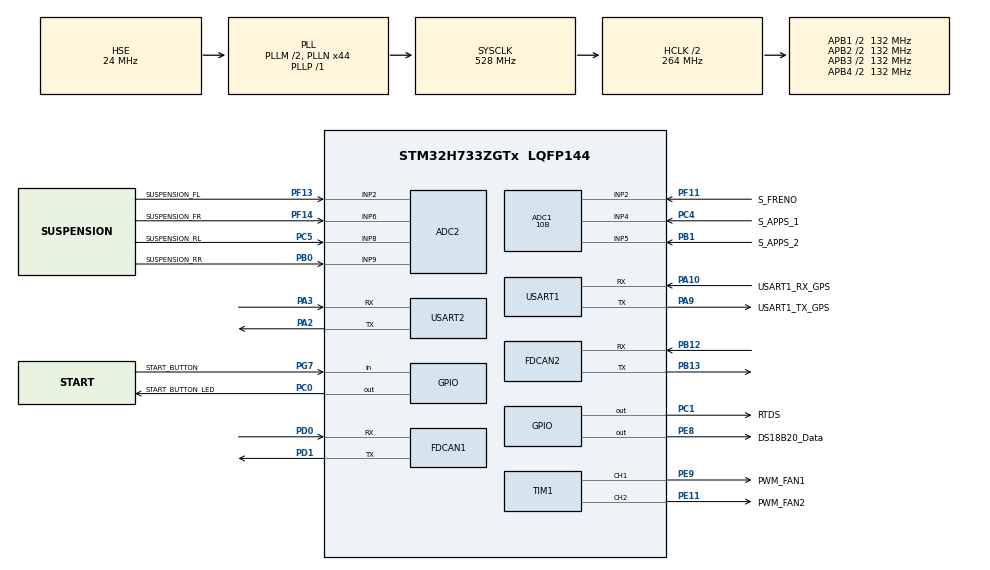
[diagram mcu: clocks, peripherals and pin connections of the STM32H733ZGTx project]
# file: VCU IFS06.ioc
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ADC1.Channel-2\#ChannelRegularConversion=ADC_CHANNEL_2
ADC1.NbrOfConversionFlag=1
ADC1.OffsetSignedSaturation-2\#ChannelRegularConversion=DISABLE
ADC1.Resolution=ADC_RESOLUTION_10B
ADC1.master=1
ADC2.Channel-8\#ChannelRegularConversion=ADC_CHANNEL_9
ADC2.NbrOfConversionFlag=1
ADC2.OffsetNumber-8\#ChannelRegularConversion=ADC_OFFSET_NONE
ADC2.OffsetSignedSaturation-8\#ChannelRegularConversion=DISABLE
ADC2.Rank-8\#ChannelRegularConversion=1
ADC2.SamplingTime-8\#ChannelRegularConversion=ADC_SAMPLETIME_1CYCLE_5
FDCAN1.CalculateBaudRateNominal=500000
FDCAN1.CalculateTimeBitNominal=2000
FDCAN1.CalculateTimeQuantumNominal=250.0
FDCAN1.ExtFiltersNbr=1
FDCAN1.NominalPrescaler=6
FDCAN1.NominalTimeSeg1=2
FDCAN1.NominalTimeSeg2=5
FDCAN1.RxBuffersNbr=0
FDCAN1.RxFifo0ElmtsNbr=32
FDCAN1.RxFifo1ElmtsNbr=32
FDCAN1.StdFiltersNbr=1
FDCAN1.TxBuffersNbr=0
FDCAN1.TxEventsNbr=0
FDCAN1.TxFifoQueueElmtsNbr=32
FDCAN2.CalculateBaudRateNominal=250000
FDCAN2.CalculateTimeBitNominal=4000
FDCAN2.CalculateTimeQuantumNominal=250.0
FDCAN2.ExtFiltersNbr=1
FDCAN2.FrameFormat=FDCAN_FRAME_CLASSIC
FDCAN2.NominalPrescaler=6
FDCAN2.NominalTimeSeg1=10
FDCAN2.NominalTimeSeg2=5
FDCAN2.RxBuffersNbr=0
FDCAN2.RxFifo0ElmtsNbr=16
FDCAN2.RxFifo1ElmtsNbr=16
FDCAN2.StdFiltersNbr=1
FDCAN2.TxBuffersNbr=0
FDCAN2.TxEventsNbr=0
FDCAN2.TxFifoQueueElmtsNbr=16
Mcu.Family=STM32H7
Mcu.Name=STM32H733ZGTx
Mcu.Package=LQFP144
NVIC.FDCAN1_IT0_IRQn=true\:0\:0\:false\:false\:true\:true\:true\:true
NVIC.FDCAN2_IT0_IRQn=true\:0\:0\:false\:false\:true\:true\:true\:true
NVIC.FDCAN2_IT1_IRQn=true\:0\:0\:false\:false\:true\:true\:true\:true
NVIC.PriorityGroup=NVIC_PRIORITYGROUP_4
NVIC.TIM16_IRQn=true\:0\:0\:false\:false\:true\:true\:true\:true
PA10.GPIO_Label=USART1_RX_GPS
PA10.Mode=Asynchronous
PA10.Signal=USART1_RX
PA13(JTMS/SWDIO).Mode=Trace_Asynchronous_SW
PA13(JTMS/SWDIO).Signal=DEBUG_JTMS-SWDIO
PA14(JTCK/SWCLK).Mode=Trace_Asynchronous_SW
PA14(JTCK/SWCLK).Signal=DEBUG_JTCK-SWCLK
PA2.Mode=Asynchronous
PA2.Signal=USART2_TX
PA3.Mode=Asynchronous
PA3.Signal=USART2_RX
PA9.GPIO_Label=USART1_TX_GPS
PA9.Mode=Asynchronous
PA9.Signal=USART1_TX
PB0.GPIO_Label=SUSPENSION_RR
PB0.Signal=ADCx_INP9
PB1.GPIO_Label=S_APPS_2
PB1.GPIO_Mode=GPIO_MODE_ANALOG
PB1.GPIO_PuPd=GPIO_NOPULL
PB1.Signal=ADCx_INP5
PB12.Mode=FDCAN_Activate
PB12.Signal=FDCAN2_RX
PB13.Mode=FDCAN_Activate
PB13.Signal=FDCAN2_TX
PB3(JTDO/TRACESWO).Mode=Trace_Asynchronous_SW
PB3(JTDO/TRACESWO).Signal=DEBUG_JTDO-SWO
PC0.GPIO_Label=START_BUTTON_LED
PC0.Signal=GPIO_Output
PC1.GPIO_Label=RTDS
PC1.Signal=GPIO_Output
PC4.GPIO_Label=S_APPS_1
PC4.GPIO_Mode=GPIO_MODE_ANALOG
PC4.GPIO_PuPd=GPIO_NOPULL
PC4.Signal=ADCx_INP4
PC5.GPIO_Label=SUSPENSION_RL
PC5.Signal=ADCx_INP8
PD0.Mode=FDCAN_Activate
PD0.Signal=FDCAN1_RX
PD1.Mode=FDCAN_Activate
PD1.Signal=FDCAN1_TX
PE11.GPIO_Label=PWM_FAN2
PE11.Signal=S_TIM1_CH2
PE8.GPIO_Label=DS18B20_Data
PE8.Signal=GPIO_Output
PE9.GPIO_Label=PWM_FAN1
PE9.Signal=S_TIM1_CH1
PF11.GPIO_Label=S_FRENO
PF11.GPIO_Mode=GPIO_MODE_ANALOG
PF11.GPIO_PuPd=GPIO_NOPULL
PF11.Mode=IN2-Single-Ended
PF11.Signal=ADC1_INP2
PF13.GPIO_Label=SUSPENSION_FL
PF13.Mode=IN2-Single-Ended
PF13.Signal=ADC2_INP2
PF14.GPIO_Label=SUSPENSION_FR
PF14.Mode=IN6-Single-Ended
PF14.Signal=ADC2_INP6
PG10.Signal=FDCAN3_RX
PG7.GPIO_Label=START_BUTTON
PG7.Signal=GPIO_Input
PG9.Signal=FDCAN3_TX
PH0-OSC_IN.Mode=HSE-External-Oscillator
PH0-OSC_IN.Signal=RCC_OSC_IN
PH1-OSC_OUT.Mode=HSE-External-Oscillator
PH1-OSC_OUT.Signal=RCC_OSC_OUT
ProjectManager.HeapSize=0x200
ProjectManager.StackSize=0x400
ProjectManager.TargetToolchain=STM32CubeIDE
RCC.ADCCLockSelection=RCC_ADCCLKSOURCE_PLL2
RCC.ADCFreq_Value=98160644.53125
RCC.APB1Freq_Value=132000000
RCC.APB2Freq_Value=132000000
RCC.APB3Freq_Value=132000000
RCC.APB4Freq_Value=132000000
RCC.CECCLockSelection=RCC_CECCLKSOURCE_LSI
RCC.CKPERSourceSelection=RCC_CLKPSOURCE_HSI
RCC.CSI_VALUE=4000000
RCC.CortexFreq_Value=528000000
RCC.Cortex_DivARG=SystemCoreClock/1000
RCC.D1PPRE=RCC_APB3_DIV2
RCC.D2PPRE1=RCC_APB1_DIV2
RCC.D2PPRE2=RCC_APB2_DIV2
RCC.D3PPRE=RCC_APB4_DIV2
RCC.DFSDMCLockSelection=RCC_DFSDM1CLKSOURCE_D2PCLK1
RCC.DIVM1=2
RCC.DIVM2=2
RCC.DIVN1=44
RCC.DIVN2=16
RCC.DIVP1=1
RCC.DIVQ1=4
RCC.EXTERNAL_CLOCK_VALUE=12288000
RCC.FDCANCLockSelection=RCC_FDCANCLKSOURCE_HSE
RCC.FMCCLockSelection=RCC_FMCCLKSOURCE_D1HCLK
RCC.HCLKFreq_Value=264000000
RCC.HPRE=RCC_HCLK_DIV2
RCC.HSE_VALUE=24000000
RCC.HSI48_VALUE=48000000
RCC.HSI_VALUE=64000000
RCC.I2C123CLockSelection=RCC_I2C1235CLKSOURCE_D2PCLK1
RCC.I2C4CLockSelection=RCC_I2C4CLKSOURCE_D3PCLK1
RCC.LPTIM1CLockSelection=RCC_LPTIM1CLKSOURCE_D2PCLK1
RCC.LPTIM2CLockSelection=RCC_LPTIM2CLKSOURCE_D3PCLK1
RCC.LPTIM345CLockSelection=RCC_LPTIM345CLKSOURCE_D3PCLK1
RCC.LPUART1CLockSelection=RCC_LPUART1CLKSOURCE_D3PCLK1
RCC.LSE_VALUE=32768
RCC.PLL2FRACN=2950
RCC.PLL3FRACN=0
RCC.PLLFRACN=0
RCC.PLLSourceVirtual=RCC_PLLSOURCE_HSE
RCC.QSPICLockSelection=RCC_OSPICLKSOURCE_D1HCLK
RCC.RCC_MCO1Source=RCC_MCO1SOURCE_HSI
RCC.RCC_MCO2Source=RCC_MCO2SOURCE_SYSCLK
RCC.RNGCLockSelection=RCC_RNGCLKSOURCE_HSI48
RCC.SAI1CLockSelection=RCC_SAI1CLKSOURCE_PLL
RCC.SAI4ACLockSelection=RCC_SAI4ACLKSOURCE_PLL
RCC.SAI4BCLockSelection=RCC_SAI4BCLKSOURCE_PLL
RCC.SPDIFCLockSelection=RCC_SPDIFRXCLKSOURCE_PLL
RCC.SPI123CLockSelection=RCC_SPI123CLKSOURCE_PLL
RCC.SPI6CLockSelection=RCC_SPI6CLKSOURCE_D3PCLK1
RCC.SWPCLockSelection=RCC_SWPMI1CLKSOURCE_D2PCLK1
RCC.SYSCLKFreq_VALUE=528000000
RCC.SYSCLKSource=RCC_SYSCLKSOURCE_PLLCLK
RCC.Spi45ClockSelection=RCC_SPI45CLKSOURCE_D2PCLK1
RCC.USART16CLockSelection=RCC_USART16910CLKSOURCE_D2PCLK2
RCC.USART234578CLockSelection=RCC_USART234578CLKSOURCE_D2PCLK1
RCC.USBCLockSelection=RCC_USBCLKSOURCE_PLL
RCC.USBFreq_Value=132000000
SH.ADCx_INP4.0=ADC1_INP4,IN4-Single-Ended
SH.ADCx_INP5.0=ADC1_INP5,IN5-Single-Ended
SH.ADCx_INP8.0=ADC2_INP8,IN8-Single-Ended
SH.ADCx_INP8.1=ADC1_INP8,IN8-Single-Ended
SH.ADCx_INP9.0=ADC2_INP9,IN9-Single-Ended
SH.ADCx_INP9.1=ADC1_INP9,IN9-Single-Ended
SH.S_TIM1_CH1.0=TIM1_CH1,PWM Generation1 CH1
SH.S_TIM1_CH2.0=TIM1_CH2,PWM Generation2 CH2
TIM1.AutoReloadPreload=TIM_AUTORELOAD_PRELOAD_ENABLE
TIM1.Channel-PWM\ Generation1\ CH1=TIM_CHANNEL_1
TIM1.Channel-PWM\ Generation2\ CH2=TIM_CHANNEL_2
TIM16.Period=10000 - 1
TIM16.Prescaler=2640- 1
USART1.VirtualMode-Asynchronous=VM_ASYNC
USART2.VirtualMode-Asynchronous=VM_ASYNC
VP_TIM16_VS_ClockSourceINT.Mode=Enable_Timer
VP_TIM1_VS_ClockSourceINT.Mode=Internal
board=custom

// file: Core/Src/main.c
/* USER CODE BEGIN Header */
/**
  ******************************************************************************
  * @file           : main.c
  * @brief          : Main program body
  ******************************************************************************
  * @attention
  *
  * Copyright (c) 2024 STMicroelectronics.
  * All rights reserved.
  *
  * This software is licensed under terms that can be found in the LICENSE file
  * in the root directory of this software component.
  * If no LICENSE file comes with this software, it is provided AS-IS.
  *
  ******************************************************************************
  */
/* USER CODE END Header */
#include "main.h"

/* USER CODE BEGIN Includes */
#include <stdio.h>
#include <string.h>
#include <stdlib.h>
#include "VCU.h"
/* USER CODE END Includes */

ADC_HandleTypeDef hadc1;
ADC_HandleTypeDef hadc2;

FDCAN_HandleTypeDef hfdcan1;
FDCAN_HandleTypeDef hfdcan2;

TIM_HandleTypeDef htim1;
TIM_HandleTypeDef htim16;

UART_HandleTypeDef huart1;
UART_HandleTypeDef huart2;

void SystemClock_Config(void);
void PeriphCommonClock_Config(void);
static void MX_GPIO_Init(void);
static void MX_ADC1_Init(void);
static void MX_ADC2_Init(void);
static void MX_FDCAN1_Init(void);
static void MX_FDCAN2_Init(void);
static void MX_TIM1_Init(void);
static void MX_USART2_UART_Init(void);
static void MX_TIM16_Init(void);
static void MX_USART1_UART_Init(void);

/* USER CODE BEGIN 0 */

// ---------- MODOS DEBUG ----------
#define DEBUG 1

// ---------- VARIABLES DEL CAN ----------
FDCAN_TxHeaderTypeDef TxHeader_Inv;
FDCAN_RxHeaderTypeDef RxHeader_Inv;
FDCAN_TxHeaderTypeDef TxHeader_Acu;
FDCAN_RxHeaderTypeDef RxHeader_Acu;

uint8_t TxData_Inv[8];
uint8_t RxData_Inv[8];
uint8_t TxData_Acu[8];
uint8_t RxData_Acu[8];

// Datos a recibir del inversor
INT32U datos_inversor[N_DATOS_INV] = {T_MOTOR, T_IGBT, T_AIR, N_ACTUAL, I_ACTUAL};

// Detector de flanco botón de arranque
int start_button_act;
int start_button_ant = 0; //1

// ---------- VARIABLES DE LECTURA DE SENSORES ----------

// Inversor
int inv_dc_bus_voltage = 0; // Lectura de DC_BUS_VOLTAGE
int inv_t_motor;        // Lectura de motor temperature
int inv_t_igbt;         // Lectura de power stage temperature
int inv_t_air;          // Lectura de air temperature
int inv_n_actual;       // Lectura de speed actual value

// Sensores
int s1_aceleracion; // Lectura del sensor 1 del pedal de aceleración
int s2_aceleracion; // Lectura del sensor 2 del pedal de aceleración
float s1_aceleracion_aux;
float s2_aceleracion_aux;
int s_freno; // Lectura del sensor de freno
float s_freno_aux;
int sdd_suspension; // Lectura del sensor delantero derecho de suspensión
int sdi_suspension; // Lectura del sensor delantero izquierdo de suspensión
float aux_velocidad;
float v_celda_min = 3600; // Contiene el ultimo valor de tension minima de una celda enviada por el AMS.

// ---------- VARIABLES DE CONTROL DEL INVERSOR ----------
int porcentaje_pedal_acel;
uint16_t torque_1;
uint16_t torque_2;
uint16_t torque_total;
int torque_limitado;
uint16_t real_torque;
int media_s_acel;
uint8_t state = 0;

// Revisar normativa
int flag_EV_2_3 = 0;
int flag_T11_8_9 = 0;
int count_T11_8_9 = 0;

char uart_msg[100];
uint8_t error = 0;

void print(char uart_buffer[]);
void printValue(int value);
void printHex(uint8_t value);

void ADC1_Select_SF(void);
void ADC1_Select_SA1(void);
void ADC1_Select_SA2(void);

void ADC2_Select_FL(void);
void ADC2_Select_FR(void);
void ADC2_Select_RL(void);
void ADC2_Select_RR(void);

uint8_t setTorque(void);

/* USER CODE END 0 */

int main(void)
{

  /* MCU Configuration--------------------------------------------------------*/

  /* Reset of all peripherals, Initializes the Flash interface and the Systick. */
  HAL_Init();

  /* Configure the system clock */
  SystemClock_Config();

/* Configure the peripherals common clocks */
  PeriphCommonClock_Config();

  /* Initialize all configured peripherals */
  MX_GPIO_Init();
  MX_ADC1_Init();
  MX_ADC2_Init();
  MX_FDCAN1_Init();
  MX_FDCAN2_Init();
  MX_TIM1_Init();
  MX_USART2_UART_Init();
  MX_TIM16_Init();
  MX_USART1_UART_Init();
  /* USER CODE BEGIN 2 */

  //Inicialización de buses CAN

  //Inversor
  if (HAL_FDCAN_Start(&hfdcan1) != HAL_OK){
#if DEBUG
print("Error al inicializar CAN_INV");
#endif
  }

  //Acumulador
  if (HAL_FDCAN_Start(&hfdcan2) != HAL_OK){
#if DEBUG
print("Error al inicializar CAN_ACU");
#endif
  }

  if (HAL_FDCAN_ActivateNotification(&hfdcan2, FDCAN_IT_RX_FIFO0_NEW_MESSAGE, 0) != HAL_OK)
  {
#if DEBUG
print("Error al activar NOTIFICATION CAN_ACU");
#endif
  }

  //---------- SECUENCIA DE ARRANQUE ----------

  //Espera ACK inversor (DC bus)
  while (config_inv_lectura_v == 0){
#if(DEBUG)
print("Solicitar tensión inversor");
#endif
	if(HAL_FDCAN_GetRxMessage(&hfdcan1, FDCAN_RX_FIFO0, &RxHeader_Inv, RxData_Inv) == HAL_OK){
		if(RxHeader_Inv.Identifier == TX_STATE_7 && RxHeader_Inv.DataLength == 6){
			config_inv_lectura_v = 1; //Sale del bucle
#if DEBUG
print("CAN_INV: Lectura de DC_BUS_VOLTAGE correctamente");
#endif
		}
	}
  }

  //Estado STAND BY inversor
  while(state!=3){
	HAL_FDCAN_GetRxMessage(&hfdcan1, FDCAN_RX_FIFO0, &RxHeader_Inv, RxData_Inv);
	if(RxHeader_Inv.Identifier == TX_STATE_3){
		state = RxData_Inv[2]>>0x1;
	}
  }

	//PRE-CHARGE
  while(precarga_inv == 0){
#if DEBUG
print("Precarga");
#endif
	//Lectura DC_BUS_VOLTAGE del CAN_INV
	if(HAL_FDCAN_GetRxMessage(&hfdcan1, FDCAN_RX_FIFO0, &RxHeader_Inv, RxData_Inv) == HAL_OK){
		if(RxHeader_Inv.Identifier == TX_STATE_7 && RxHeader_Inv.DataLength == 6){
			uint8_t byte0 = RxData_Inv[0];
			uint8_t byte1 = RxData_Inv[1];
			printHex(byte0);
			printHex(byte1);
			//inv_dc_bus_voltage = (int)((byte1<<8)|byte0);
#if DEBUG
print("DC_BUS_VOLTAGE (V):");
printValue((int)((byte1<<8)|byte0));
#endif

			//Reenvío DC_BUS_VOLTAGE al AMS por CAN_ACU
			TxHeader_Acu.Identifier = ID_dc_bus_voltage;
			TxHeader_Acu.DataLength = 2;
			TxHeader_Acu.IdType = FDCAN_EXTENDED_ID;
			TxHeader_Acu.FDFormat = FDCAN_CLASSIC_CAN;
			TxHeader_Acu.TxFrameType = FDCAN_DATA_FRAME;

			TxData_Acu[0] = byte0;
			TxData_Acu[1] = byte1;
			if(HAL_FDCAN_AddMessageToTxFifoQ(&hfdcan2, &TxHeader_Acu, TxData_Acu) == HAL_OK){
#if DEBUG
print("CAN_ACU: DC_BUS_VOLTAGE enviado a AMS");
#endif
			}

	    }
	}
  }

#if DEBUG
print("state : stand by");
#endif

/*
 * TIM16 -> APB2 => 264MHzw
 * 10 ms interruption => 10ms * 264MHz = 2640000
 * prescalado 264 (por ejemplo)
 * timer count = 2640000 / 264 = 10000
 */
  HAL_TIM_Base_Start_IT(&htim16);

  //Estado READY inversor
  TxHeader_Inv.Identifier = RX_SETPOINT_1;
  TxHeader_Inv.DataLength = 3;
  TxHeader_Inv.IdType = FDCAN_STANDARD_ID;

  TxData_Inv[0] = 0x0;
  TxData_Inv[1] = 0x0;
  TxData_Inv[2] = 0x4;
  HAL_FDCAN_AddMessageToTxFifoQ(&hfdcan1, &TxHeader_Inv, TxData_Inv);
  while(state!=4){
	  HAL_FDCAN_GetRxMessage(&hfdcan1, FDCAN_RX_FIFO0, &RxHeader_Inv, RxData_Inv);
	  if(RxHeader_Inv.Identifier == TX_STATE_3){
		  state = RxData_Inv[2]>>0x1;
	  }
  }
#if DEBUG
print("state: ready");
#endif

  //Estado TORQUE inversor
  TxHeader_Inv.Identifier = RX_SETPOINT_1;
  TxHeader_Inv.DataLength = 3;
  TxHeader_Inv.IdType = FDCAN_STANDARD_ID;

  TxData_Inv[0] = 0x0;
  TxData_Inv[1] = 0x0;
  TxData_Inv[2] = 0x6;
  HAL_FDCAN_AddMessageToTxFifoQ(&hfdcan1, &TxHeader_Inv, TxData_Inv);
  while(state!=6){
	  HAL_FDCAN_GetRxMessage(&hfdcan1, FDCAN_RX_FIFO0, &RxHeader_Inv, RxData_Inv);
	  if(RxHeader_Inv.Identifier == TX_STATE_3){
		  state = RxData_Inv[2]>>0x1;
	  }
  }

  //Espera a que se pulse el botón de arranque mientras se pisa el freno
  while(boton_arranque == 0){
	  //Enciende el LED del boton para avisar al piloto
	  HAL_GPIO_WritePin(START_BUTTON_LED_GPIO_Port, START_BUTTON_LED_Pin, GPIO_PIN_RESET);

	  start_button_act = HAL_GPIO_ReadPin(START_BUTTON_GPIO_Port, START_BUTTON_Pin);
	  if(start_button_act == 1 && start_button_ant == 0){
		  ADC1_Select_SF();
		  HAL_ADC_Start(&hadc1);
		  HAL_ADC_PollForConversion(&hadc1, HAL_MAX_DELAY);
		  s_freno= HAL_ADC_GetValue(&hadc1);
		  HAL_ADC_Stop(&hadc1);
#if DEBUG
print("Botón Start + Freno:");
printValue(s_freno);
#endif
		  if(s_freno>UMBRAL_FRENO){
			  boton_arranque = 1;
#if DEBUG
print("Coche arrancado correctamente");
#endif
		  }
		  else{
#if DEBUG
print("Pulsar freno para arrancar");
#endif
		  }
	  }
  }

  // Activar READY-TO-DRIVE-SOUND (RTDS) durante 2s
#if DEBUG
print("RTDS sonando");
#endif
  HAL_GPIO_WritePin(START_BUTTON_LED_GPIO_Port, START_BUTTON_LED_Pin, GPIO_PIN_SET); //Apaga LED botón
  HAL_GPIO_WritePin(RTDS_GPIO_Port, RTDS_Pin, GPIO_PIN_SET); //Enciende RTDS
  HAL_Delay(2000);
  HAL_GPIO_WritePin(RTDS_GPIO_Port, RTDS_Pin, GPIO_PIN_RESET); //Apaga RTDS
#if DEBUG
  print("RTDS apagado");
#endif

  // Avisar a resto de ECUs de que pueden comenzar ya a mandar datos al CAN (RTD_all)
  // Inicia telemetria y activa los ventiladores
  /*TxHeader_Acu.Identifier = ID_RTD_all;
  TxHeader_Acu.DataLength = 1;
  TxData_Acu[0] = 1;
  HAL_FDCAN_AddMessageToTxFifoQ(&hfdcan2, &TxHeader_Acu, TxData_Acu);*/

  /* USER CODE END 2 */

  /* Infinite loop */
  /* USER CODE BEGIN WHILE */
  while (1)
  {
		//Estado TORQUE inversor
		TxHeader_Inv.Identifier = RX_SETPOINT_1;
		TxHeader_Inv.DataLength = 3;
		TxHeader_Inv.IdType = FDCAN_STANDARD_ID;

		TxData_Inv[0] = 0x0;
		TxData_Inv[1] = 0x0;
		TxData_Inv[2] = 0x6;
		HAL_FDCAN_AddMessageToTxFifoQ(&hfdcan1, &TxHeader_Inv, TxData_Inv);

		HAL_FDCAN_GetRxMessage(&hfdcan1, FDCAN_RX_FIFO0, &RxHeader_Inv, RxData_Inv);
		if(RxHeader_Inv.Identifier == TX_STATE_3){
			state = RxData_Inv[2]>>0x1;
			if(state == 10){
				error = RxData_Inv[0];
			}
		}
	  	  // Envío datos telemetría
	  	  if(0){
	  		  while(HAL_FDCAN_GetRxMessage(&hfdcan1, FDCAN_RX_FIFO0, &RxHeader_Inv, RxData_Inv) == HAL_OK){
	  			  if(RxHeader_Inv.Identifier == txID_inversor){
	  				  switch(RxData_Inv[0]){
	  				  case DC_BUS_VOLTAGE:
	  					  TxHeader_Acu.Identifier = ID_dc_bus_voltage;
	  					  TxHeader_Acu.DataLength = 2;
	  					  TxHeader_Acu.IdType = FDCAN_EXTENDED_ID;
	  					  inv_dc_bus_voltage = (int)RxData_Inv[0] << 8;
	  					  TxData_Acu[0] = inv_dc_bus_voltage >> 8 & 0xFF;
	  					  TxData_Acu[1] = inv_dc_bus_voltage & 0xFF;
	  					  HAL_FDCAN_AddMessageToTxFifoQ(&hfdcan2, &TxHeader_Acu, TxData_Acu);
	  					  break;

	  				  case T_MOTOR:
	  					  TxHeader_Acu.Identifier = ID_t_motor;
	  					  TxHeader_Acu.DataLength = 2;
	  					  TxHeader_Acu.IdType = FDCAN_EXTENDED_ID;
	  					  TxData_Acu[0] = RxData_Inv[2];
	  					  TxData_Acu[1] = RxData_Inv[1];
	  					  HAL_FDCAN_AddMessageToTxFifoQ(&hfdcan2, &TxHeader_Acu, TxData_Acu);
	  					  break;

	  				  case T_IGBT:
	  					  TxHeader_Acu.Identifier = ID_t_igbt;
	  					  TxHeader_Acu.DataLength = 2;
	  					  TxHeader_Acu.IdType = FDCAN_EXTENDED_ID;
	  					  TxData_Acu[0] = RxData_Inv[2];
	  					  TxData_Acu[1] = RxData_Inv[1];
	  					  HAL_FDCAN_AddMessageToTxFifoQ(&hfdcan2, &TxHeader_Acu, TxData_Acu);
	  					  break;

	  				  case T_AIR:
	  					  TxHeader_Acu.Identifier = ID_t_air;
	  					  TxHeader_Acu.DataLength = 2;
	  					  TxHeader_Acu.IdType = FDCAN_EXTENDED_ID;
	  					  TxData_Acu[0] = RxData_Inv[2];
	  					  TxData_Acu[1] = RxData_Inv[1];
	  					  HAL_FDCAN_AddMessageToTxFifoQ(&hfdcan2, &TxHeader_Acu, TxData_Acu);
	  					  break;

	  				  case N_ACTUAL:
	  					  TxHeader_Acu.Identifier = ID_n_actual;
	  					  TxHeader_Acu.DataLength = 2;
	  					  TxHeader_Acu.IdType = FDCAN_EXTENDED_ID;
	  					  TxData_Acu[0] = RxData_Inv[2];
	  					  TxData_Acu[1] = RxData_Inv[1];
	  					  HAL_FDCAN_AddMessageToTxFifoQ(&hfdcan2, &TxHeader_Acu, TxData_Acu);
	  					  break;

	  				  case I_ACTUAL:
	  					  TxHeader_Acu.Identifier = ID_i_actual;
	  					  TxHeader_Acu.DataLength = 2;
	  					  TxHeader_Acu.IdType = FDCAN_EXTENDED_ID;
	  					  TxData_Acu[0] = RxData_Inv[2];
	  					  TxData_Acu[1] = RxData_Inv[1];
	  					  HAL_FDCAN_AddMessageToTxFifoQ(&hfdcan2, &TxHeader_Acu, TxData_Acu);
	  					  break;
	  				  default:
	  					  break;

	  				  }
	  			  }
	  		  }
	  	  }

    /* USER CODE END WHILE */

  }
}

void SystemClock_Config(void)
{
  RCC_OscInitTypeDef RCC_OscInitStruct = {0};
  RCC_ClkInitTypeDef RCC_ClkInitStruct = {0};

  /** Supply configuration update enable
  */
  HAL_PWREx_ConfigSupply(PWR_LDO_SUPPLY);

  /** Configure the main internal regulator output voltage
  */
  __HAL_PWR_VOLTAGESCALING_CONFIG(PWR_REGULATOR_VOLTAGE_SCALE0);

  while(!__HAL_PWR_GET_FLAG(PWR_FLAG_VOSRDY)) {}

  /** Initializes the RCC Oscillators according to the specified parameters
  * in the RCC_OscInitTypeDef structure.
  */
  RCC_OscInitStruct.OscillatorType = RCC_OSCILLATORTYPE_HSE;
  RCC_OscInitStruct.HSEState = RCC_HSE_ON;
  RCC_OscInitStruct.PLL.PLLState = RCC_PLL_ON;
  RCC_OscInitStruct.PLL.PLLSource = RCC_PLLSOURCE_HSE;
  RCC_OscInitStruct.PLL.PLLM = 2;
  RCC_OscInitStruct.PLL.PLLN = 44;
  RCC_OscInitStruct.PLL.PLLP = 1;
  RCC_OscInitStruct.PLL.PLLQ = 4;
  RCC_OscInitStruct.PLL.PLLR = 2;
  RCC_OscInitStruct.PLL.PLLRGE = RCC_PLL1VCIRANGE_3;
  RCC_OscInitStruct.PLL.PLLVCOSEL = RCC_PLL1VCOWIDE;
  RCC_OscInitStruct.PLL.PLLFRACN = 0;
  if (HAL_RCC_OscConfig(&RCC_OscInitStruct) != HAL_OK)
  {
    Error_Handler();
  }

  /** Initializes the CPU, AHB and APB buses clocks
  */
  RCC_ClkInitStruct.ClockType = RCC_CLOCKTYPE_HCLK|RCC_CLOCKTYPE_SYSCLK
                              |RCC_CLOCKTYPE_PCLK1|RCC_CLOCKTYPE_PCLK2
                              |RCC_CLOCKTYPE_D3PCLK1|RCC_CLOCKTYPE_D1PCLK1;
  RCC_ClkInitStruct.SYSCLKSource = RCC_SYSCLKSOURCE_PLLCLK;
  RCC_ClkInitStruct.SYSCLKDivider = RCC_SYSCLK_DIV1;
  RCC_ClkInitStruct.AHBCLKDivider = RCC_HCLK_DIV2;
  RCC_ClkInitStruct.APB3CLKDivider = RCC_APB3_DIV2;
  RCC_ClkInitStruct.APB1CLKDivider = RCC_APB1_DIV2;
  RCC_ClkInitStruct.APB2CLKDivider = RCC_APB2_DIV2;
  RCC_ClkInitStruct.APB4CLKDivider = RCC_APB4_DIV2;

  if (HAL_RCC_ClockConfig(&RCC_ClkInitStruct, FLASH_LATENCY_3) != HAL_OK)
  {
    Error_Handler();
  }
}

void PeriphCommonClock_Config(void)
{
  RCC_PeriphCLKInitTypeDef PeriphClkInitStruct = {0};

  /** Initializes the peripherals clock
  */
  PeriphClkInitStruct.PeriphClockSelection = RCC_PERIPHCLK_ADC;
  PeriphClkInitStruct.PLL2.PLL2M = 2;
  PeriphClkInitStruct.PLL2.PLL2N = 16;
  PeriphClkInitStruct.PLL2.PLL2P = 2;
  PeriphClkInitStruct.PLL2.PLL2Q = 2;
  PeriphClkInitStruct.PLL2.PLL2R = 2;
  PeriphClkInitStruct.PLL2.PLL2RGE = RCC_PLL2VCIRANGE_3;
  PeriphClkInitStruct.PLL2.PLL2VCOSEL = RCC_PLL2VCOWIDE;
  PeriphClkInitStruct.PLL2.PLL2FRACN = 2950;
  PeriphClkInitStruct.AdcClockSelection = RCC_ADCCLKSOURCE_PLL2;
  if (HAL_RCCEx_PeriphCLKConfig(&PeriphClkInitStruct) != HAL_OK)
  {
    Error_Handler();
  }
}

static void MX_ADC1_Init(void)
{

  ADC_MultiModeTypeDef multimode = {0};
  ADC_ChannelConfTypeDef sConfig = {0};

  /** Common config
  */
  hadc1.Instance = ADC1;
  hadc1.Init.ClockPrescaler = ADC_CLOCK_ASYNC_DIV1;
  hadc1.Init.Resolution = ADC_RESOLUTION_10B;
  hadc1.Init.ScanConvMode = ADC_SCAN_DISABLE;
  hadc1.Init.EOCSelection = ADC_EOC_SINGLE_CONV;
  hadc1.Init.LowPowerAutoWait = DISABLE;
  hadc1.Init.ContinuousConvMode = DISABLE;
  hadc1.Init.NbrOfConversion = 1;
  hadc1.Init.DiscontinuousConvMode = DISABLE;
  hadc1.Init.ExternalTrigConv = ADC_SOFTWARE_START;
  hadc1.Init.ExternalTrigConvEdge = ADC_EXTERNALTRIGCONVEDGE_NONE;
  hadc1.Init.ConversionDataManagement = ADC_CONVERSIONDATA_DR;
  hadc1.Init.Overrun = ADC_OVR_DATA_PRESERVED;
  hadc1.Init.LeftBitShift = ADC_LEFTBITSHIFT_NONE;
  hadc1.Init.OversamplingMode = DISABLE;
  if (HAL_ADC_Init(&hadc1) != HAL_OK)
  {
    Error_Handler();
  }

  /** Configure the ADC multi-mode
  */
  multimode.Mode = ADC_MODE_INDEPENDENT;
  if (HAL_ADCEx_MultiModeConfigChannel(&hadc1, &multimode) != HAL_OK)
  {
    Error_Handler();
  }

  /** Configure Regular Channel
  */
  sConfig.Channel = ADC_CHANNEL_2;
  sConfig.Rank = ADC_REGULAR_RANK_1;
  sConfig.SamplingTime = ADC_SAMPLETIME_1CYCLE_5;
  sConfig.SingleDiff = ADC_SINGLE_ENDED;
  sConfig.OffsetNumber = ADC_OFFSET_NONE;
  sConfig.Offset = 0;
  sConfig.OffsetSignedSaturation = DISABLE;
  if (HAL_ADC_ConfigChannel(&hadc1, &sConfig) != HAL_OK)
  {
    Error_Handler();
  }

}

static void MX_ADC2_Init(void)
{

  ADC_ChannelConfTypeDef sConfig = {0};

  /** Common config
  */
  hadc2.Instance = ADC2;
  hadc2.Init.ClockPrescaler = ADC_CLOCK_ASYNC_DIV1;
  hadc2.Init.Resolution = ADC_RESOLUTION_16B;
  hadc2.Init.ScanConvMode = ADC_SCAN_DISABLE;
  hadc2.Init.EOCSelection = ADC_EOC_SINGLE_CONV;
  hadc2.Init.LowPowerAutoWait = DISABLE;
  hadc2.Init.ContinuousConvMode = DISABLE;
  hadc2.Init.NbrOfConversion = 1;
  hadc2.Init.DiscontinuousConvMode = DISABLE;
  hadc2.Init.ExternalTrigConv = ADC_SOFTWARE_START;
  hadc2.Init.ExternalTrigConvEdge = ADC_EXTERNALTRIGCONVEDGE_NONE;
  hadc2.Init.ConversionDataManagement = ADC_CONVERSIONDATA_DR;
  hadc2.Init.Overrun = ADC_OVR_DATA_PRESERVED;
  hadc2.Init.LeftBitShift = ADC_LEFTBITSHIFT_NONE;
  hadc2.Init.OversamplingMode = DISABLE;
  if (HAL_ADC_Init(&hadc2) != HAL_OK)
  {
    Error_Handler();
  }

  /** Configure Regular Channel
  */
  sConfig.Channel = ADC_CHANNEL_9;
  sConfig.Rank = ADC_REGULAR_RANK_1;
  sConfig.SamplingTime = ADC_SAMPLETIME_1CYCLE_5;
  sConfig.SingleDiff = ADC_SINGLE_ENDED;
  sConfig.OffsetNumber = ADC_OFFSET_NONE;
  sConfig.Offset = 0;
  sConfig.OffsetSignedSaturation = DISABLE;
  if (HAL_ADC_ConfigChannel(&hadc2, &sConfig) != HAL_OK)
  {
    Error_Handler();
  }

}

static void MX_FDCAN1_Init(void)
{

  hfdcan1.Instance = FDCAN1;
  hfdcan1.Init.FrameFormat = FDCAN_FRAME_CLASSIC;
  hfdcan1.Init.Mode = FDCAN_MODE_NORMAL;
  hfdcan1.Init.AutoRetransmission = DISABLE;
  hfdcan1.Init.TransmitPause = DISABLE;
  hfdcan1.Init.ProtocolException = DISABLE;
  hfdcan1.Init.NominalPrescaler = 6;
  hfdcan1.Init.NominalSyncJumpWidth = 1;
  hfdcan1.Init.NominalTimeSeg1 = 2;
  hfdcan1.Init.NominalTimeSeg2 = 5;
  hfdcan1.Init.DataPrescaler = 1;
  hfdcan1.Init.DataSyncJumpWidth = 1;
  hfdcan1.Init.DataTimeSeg1 = 1;
  hfdcan1.Init.DataTimeSeg2 = 1;
  hfdcan1.Init.MessageRAMOffset = 0;
  hfdcan1.Init.StdFiltersNbr = 1;
  hfdcan1.Init.ExtFiltersNbr = 1;
  hfdcan1.Init.RxFifo0ElmtsNbr = 32;
  hfdcan1.Init.RxFifo0ElmtSize = FDCAN_DATA_BYTES_8;
  hfdcan1.Init.RxFifo1ElmtsNbr = 32;
  hfdcan1.Init.RxFifo1ElmtSize = FDCAN_DATA_BYTES_8;
  hfdcan1.Init.RxBuffersNbr = 0;
  hfdcan1.Init.RxBufferSize = FDCAN_DATA_BYTES_8;
  hfdcan1.Init.TxEventsNbr = 0;
  hfdcan1.Init.TxBuffersNbr = 0;
  hfdcan1.Init.TxFifoQueueElmtsNbr = 32;
  hfdcan1.Init.TxFifoQueueMode = FDCAN_TX_FIFO_OPERATION;
  hfdcan1.Init.TxElmtSize = FDCAN_DATA_BYTES_8;
  if (HAL_FDCAN_Init(&hfdcan1) != HAL_OK)
  {
    Error_Handler();
  }
  /* USER CODE BEGIN FDCAN1_Init 2 */
  FDCAN_FilterTypeDef sFilterConfig;
  sFilterConfig.IdType = FDCAN_STANDARD_ID;
  sFilterConfig.FilterIndex = 0;
  sFilterConfig.FilterType = FDCAN_FILTER_MASK;
  sFilterConfig.FilterConfig = FDCAN_FILTER_TO_RXFIFO0;
  sFilterConfig.FilterID1 = 0x0;
  sFilterConfig.FilterID2 = 0x0;
  if (HAL_FDCAN_ConfigFilter(&hfdcan1, &sFilterConfig) != HAL_OK)
  {
    Error_Handler();
  }
  /* USER CODE END FDCAN1_Init 2 */

}

static void MX_FDCAN2_Init(void)
{

  hfdcan2.Instance = FDCAN2;
  hfdcan2.Init.FrameFormat = FDCAN_FRAME_CLASSIC;
  hfdcan2.Init.Mode = FDCAN_MODE_NORMAL;
  hfdcan2.Init.AutoRetransmission = DISABLE;
  hfdcan2.Init.TransmitPause = DISABLE;
  hfdcan2.Init.ProtocolException = DISABLE;
  hfdcan2.Init.NominalPrescaler = 6;
  hfdcan2.Init.NominalSyncJumpWidth = 1;
  hfdcan2.Init.NominalTimeSeg1 = 10;
  hfdcan2.Init.NominalTimeSeg2 = 5;
  hfdcan2.Init.DataPrescaler = 1;
  hfdcan2.Init.DataSyncJumpWidth = 1;
  hfdcan2.Init.DataTimeSeg1 = 1;
  hfdcan2.Init.DataTimeSeg2 = 1;
  hfdcan2.Init.MessageRAMOffset = 0;
  hfdcan2.Init.StdFiltersNbr = 1;
  hfdcan2.Init.ExtFiltersNbr = 1;
  hfdcan2.Init.RxFifo0ElmtsNbr = 16;
  hfdcan2.Init.RxFifo0ElmtSize = FDCAN_DATA_BYTES_8;
  hfdcan2.Init.RxFifo1ElmtsNbr = 16;
  hfdcan2.Init.RxFifo1ElmtSize = FDCAN_DATA_BYTES_8;
  hfdcan2.Init.RxBuffersNbr = 0;
  hfdcan2.Init.RxBufferSize = FDCAN_DATA_BYTES_8;
  hfdcan2.Init.TxEventsNbr = 0;
  hfdcan2.Init.TxBuffersNbr = 0;
  hfdcan2.Init.TxFifoQueueElmtsNbr = 16;
  hfdcan2.Init.TxFifoQueueMode = FDCAN_TX_FIFO_OPERATION;
  hfdcan2.Init.TxElmtSize = FDCAN_DATA_BYTES_8;
  if (HAL_FDCAN_Init(&hfdcan2) != HAL_OK)
  {
    Error_Handler();
  }
  /* USER CODE BEGIN FDCAN2_Init 2 */
  FDCAN_FilterTypeDef sFilterConfig;
  sFilterConfig.IdType = FDCAN_EXTENDED_ID;
  sFilterConfig.FilterIndex = 0;
  sFilterConfig.FilterType = FDCAN_FILTER_MASK;
  sFilterConfig.FilterConfig = FDCAN_FILTER_TO_RXFIFO0;
  sFilterConfig.FilterID1 = 0x0;
  sFilterConfig.FilterID2 = 0x0;
  if (HAL_FDCAN_ConfigFilter(&hfdcan2, &sFilterConfig) != HAL_OK)
  {
    Error_Handler();
  }
  /* USER CODE END FDCAN2_Init 2 */

}

static void MX_TIM1_Init(void)
{

  TIM_ClockConfigTypeDef sClockSourceConfig = {0};
  TIM_MasterConfigTypeDef sMasterConfig = {0};
  TIM_OC_InitTypeDef sConfigOC = {0};
  TIM_BreakDeadTimeConfigTypeDef sBreakDeadTimeConfig = {0};

  htim1.Instance = TIM1;
  htim1.Init.Prescaler = 0;
  htim1.Init.CounterMode = TIM_COUNTERMODE_UP;
  htim1.Init.Period = 65535;
  htim1.Init.ClockDivision = TIM_CLOCKDIVISION_DIV1;
  htim1.Init.RepetitionCounter = 0;
  htim1.Init.AutoReloadPreload = TIM_AUTORELOAD_PRELOAD_ENABLE;
  if (HAL_TIM_Base_Init(&htim1) != HAL_OK)
  {
    Error_Handler();
  }
  sClockSourceConfig.ClockSource = TIM_CLOCKSOURCE_INTERNAL;
  if (HAL_TIM_ConfigClockSource(&htim1, &sClockSourceConfig) != HAL_OK)
  {
    Error_Handler();
  }
  if (HAL_TIM_PWM_Init(&htim1) != HAL_OK)
  {
    Error_Handler();
  }
  sMasterConfig.MasterOutputTrigger = TIM_TRGO_RESET;
  sMasterConfig.MasterOutputTrigger2 = TIM_TRGO2_RESET;
  sMasterConfig.MasterSlaveMode = TIM_MASTERSLAVEMODE_DISABLE;
  if (HAL_TIMEx_MasterConfigSynchronization(&htim1, &sMasterConfig) != HAL_OK)
  {
    Error_Handler();
  }
  sConfigOC.OCMode = TIM_OCMODE_PWM1;
  sConfigOC.Pulse = 0;
  sConfigOC.OCPolarity = TIM_OCPOLARITY_HIGH;
  sConfigOC.OCNPolarity = TIM_OCNPOLARITY_HIGH;
  sConfigOC.OCFastMode = TIM_OCFAST_DISABLE;
  sConfigOC.OCIdleState = TIM_OCIDLESTATE_RESET;
  sConfigOC.OCNIdleState = TIM_OCNIDLESTATE_RESET;
  if (HAL_TIM_PWM_ConfigChannel(&htim1, &sConfigOC, TIM_CHANNEL_1) != HAL_OK)
  {
    Error_Handler();
  }
  if (HAL_TIM_PWM_ConfigChannel(&htim1, &sConfigOC, TIM_CHANNEL_2) != HAL_OK)
  {
    Error_Handler();
  }
  sBreakDeadTimeConfig.OffStateRunMode = TIM_OSSR_DISABLE;
  sBreakDeadTimeConfig.OffStateIDLEMode = TIM_OSSI_DISABLE;
  sBreakDeadTimeConfig.LockLevel = TIM_LOCKLEVEL_OFF;
  sBreakDeadTimeConfig.DeadTime = 0;
  sBreakDeadTimeConfig.BreakState = TIM_BREAK_DISABLE;
  sBreakDeadTimeConfig.BreakPolarity = TIM_BREAKPOLARITY_HIGH;
  sBreakDeadTimeConfig.BreakFilter = 0;
  sBreakDeadTimeConfig.Break2State = TIM_BREAK2_DISABLE;
  sBreakDeadTimeConfig.Break2Polarity = TIM_BREAK2POLARITY_HIGH;
  sBreakDeadTimeConfig.Break2Filter = 0;
  sBreakDeadTimeConfig.AutomaticOutput = TIM_AUTOMATICOUTPUT_DISABLE;
  if (HAL_TIMEx_ConfigBreakDeadTime(&htim1, &sBreakDeadTimeConfig) != HAL_OK)
  {
    Error_Handler();
  }
  HAL_TIM_MspPostInit(&htim1);

}

static void MX_TIM16_Init(void)
{

  htim16.Instance = TIM16;
  htim16.Init.Prescaler = 2640- 1;
  htim16.Init.CounterMode = TIM_COUNTERMODE_UP;
  htim16.Init.Period = 10000 - 1;
  htim16.Init.ClockDivision = TIM_CLOCKDIVISION_DIV1;
  htim16.Init.RepetitionCounter = 0;
  htim16.Init.AutoReloadPreload = TIM_AUTORELOAD_PRELOAD_DISABLE;
  if (HAL_TIM_Base_Init(&htim16) != HAL_OK)
  {
    Error_Handler();
  }

}

static void MX_USART1_UART_Init(void)
{

  huart1.Instance = USART1;
  huart1.Init.BaudRate = 115200;
  huart1.Init.WordLength = UART_WORDLENGTH_8B;
  huart1.Init.StopBits = UART_STOPBITS_1;
  huart1.Init.Parity = UART_PARITY_NONE;
  huart1.Init.Mode = UART_MODE_TX_RX;
  huart1.Init.HwFlowCtl = UART_HWCONTROL_NONE;
  huart1.Init.OverSampling = UART_OVERSAMPLING_16;
  huart1.Init.OneBitSampling = UART_ONE_BIT_SAMPLE_DISABLE;
  huart1.Init.ClockPrescaler = UART_PRESCALER_DIV1;
  huart1.AdvancedInit.AdvFeatureInit = UART_ADVFEATURE_NO_INIT;
  if (HAL_UART_Init(&huart1) != HAL_OK)
  {
    Error_Handler();
  }
  if (HAL_UARTEx_SetTxFifoThreshold(&huart1, UART_TXFIFO_THRESHOLD_1_8) != HAL_OK)
  {
    Error_Handler();
  }
  if (HAL_UARTEx_SetRxFifoThreshold(&huart1, UART_RXFIFO_THRESHOLD_1_8) != HAL_OK)
  {
    Error_Handler();
  }
  if (HAL_UARTEx_DisableFifoMode(&huart1) != HAL_OK)
  {
    Error_Handler();
  }

}

static void MX_USART2_UART_Init(void)
{

  huart2.Instance = USART2;
  huart2.Init.BaudRate = 115200;
  huart2.Init.WordLength = UART_WORDLENGTH_8B;
  huart2.Init.StopBits = UART_STOPBITS_1;
  huart2.Init.Parity = UART_PARITY_NONE;
  huart2.Init.Mode = UART_MODE_TX_RX;
  huart2.Init.HwFlowCtl = UART_HWCONTROL_NONE;
  huart2.Init.OverSampling = UART_OVERSAMPLING_16;
  huart2.Init.OneBitSampling = UART_ONE_BIT_SAMPLE_DISABLE;
  huart2.Init.ClockPrescaler = UART_PRESCALER_DIV1;
  huart2.AdvancedInit.AdvFeatureInit = UART_ADVFEATURE_NO_INIT;
  if (HAL_UART_Init(&huart2) != HAL_OK)
  {
    Error_Handler();
  }
  if (HAL_UARTEx_SetTxFifoThreshold(&huart2, UART_TXFIFO_THRESHOLD_1_8) != HAL_OK)
  {
    Error_Handler();
  }
  if (HAL_UARTEx_SetRxFifoThreshold(&huart2, UART_RXFIFO_THRESHOLD_1_8) != HAL_OK)
  {
    Error_Handler();
  }
  if (HAL_UARTEx_DisableFifoMode(&huart2) != HAL_OK)
  {
    Error_Handler();
  }

}

static void MX_GPIO_Init(void)
{
  GPIO_InitTypeDef GPIO_InitStruct = {0};

  /* GPIO Ports Clock Enable */
  __HAL_RCC_GPIOH_CLK_ENABLE();
  __HAL_RCC_GPIOC_CLK_ENABLE();
  __HAL_RCC_GPIOA_CLK_ENABLE();
  __HAL_RCC_GPIOB_CLK_ENABLE();
  __HAL_RCC_GPIOF_CLK_ENABLE();
  __HAL_RCC_GPIOE_CLK_ENABLE();
  __HAL_RCC_GPIOG_CLK_ENABLE();
  __HAL_RCC_GPIOD_CLK_ENABLE();

  /*Configure GPIO pin Output Level */
  HAL_GPIO_WritePin(GPIOC, START_BUTTON_LED_Pin|RTDS_Pin, GPIO_PIN_RESET);

  /*Configure GPIO pin Output Level */
  HAL_GPIO_WritePin(DS18B20_Data_GPIO_Port, DS18B20_Data_Pin, GPIO_PIN_RESET);

  /*Configure GPIO pins : START_BUTTON_LED_Pin RTDS_Pin */
  GPIO_InitStruct.Pin = START_BUTTON_LED_Pin|RTDS_Pin;
  GPIO_InitStruct.Mode = GPIO_MODE_OUTPUT_PP;
  GPIO_InitStruct.Pull = GPIO_NOPULL;
  GPIO_InitStruct.Speed = GPIO_SPEED_FREQ_LOW;
  HAL_GPIO_Init(GPIOC, &GPIO_InitStruct);

  /*Configure GPIO pin : DS18B20_Data_Pin */
  GPIO_InitStruct.Pin = DS18B20_Data_Pin;
  GPIO_InitStruct.Mode = GPIO_MODE_OUTPUT_PP;
  GPIO_InitStruct.Pull = GPIO_NOPULL;
  GPIO_InitStruct.Speed = GPIO_SPEED_FREQ_LOW;
  HAL_GPIO_Init(DS18B20_Data_GPIO_Port, &GPIO_InitStruct);

  /*Configure GPIO pin : START_BUTTON_Pin */
  GPIO_InitStruct.Pin = START_BUTTON_Pin;
  GPIO_InitStruct.Mode = GPIO_MODE_INPUT;
  GPIO_InitStruct.Pull = GPIO_NOPULL;
  HAL_GPIO_Init(START_BUTTON_GPIO_Port, &GPIO_InitStruct);

  /*Configure GPIO pins : PG9 PG10 */
  GPIO_InitStruct.Pin = GPIO_PIN_9|GPIO_PIN_10;
  GPIO_InitStruct.Mode = GPIO_MODE_AF_PP;
  GPIO_InitStruct.Pull = GPIO_NOPULL;
  GPIO_InitStruct.Speed = GPIO_SPEED_FREQ_LOW;
  GPIO_InitStruct.Alternate = GPIO_AF2_FDCAN3;
  HAL_GPIO_Init(GPIOG, &GPIO_InitStruct);

}

/* USER CODE BEGIN 4 */
void print(char uart_buffer[]){
	sprintf(uart_msg, "%s \n\r", uart_buffer);
	HAL_UART_Transmit(&huart2,(uint8_t*)uart_msg,strlen(uart_msg),HAL_MAX_DELAY);

}

void printValue(int value){
	sprintf(uart_msg, "%hu \n\r", value);
	HAL_UART_Transmit(&huart2,(uint8_t*)uart_msg,strlen(uart_msg),HAL_MAX_DELAY);

}

void printHex(uint8_t value){
	sprintf(uart_msg, "%02X \n\r", value);
	HAL_UART_Transmit(&huart2,(uint8_t*)uart_msg,strlen(uart_msg),HAL_MAX_DELAY);
}

void ADC1_Select_SA1 (void){
	ADC_ChannelConfTypeDef sConfig = {0};
	  /** Configure for the selected ADC regular channel its corresponding rank in the sequencer and its sample time.
	  */
	sConfig.Channel = ADC_CHANNEL_4;
	sConfig.Rank = ADC_REGULAR_RANK_1;
	sConfig.SamplingTime = ADC_SAMPLETIME_2CYCLES_5;
	sConfig.SingleDiff = ADC_SINGLE_ENDED;
	sConfig.OffsetNumber = ADC_OFFSET_NONE;
	sConfig.Offset = 0;
	if (HAL_ADC_ConfigChannel(&hadc1, &sConfig) != HAL_OK)
	{
	  Error_Handler();
	}
}

void ADC1_Select_SA2 (void){
	ADC_ChannelConfTypeDef sConfig = {0};
	  /** Configure for the selected ADC regular channel its corresponding rank in the sequencer and its sample time.
	  */
	sConfig.Channel = ADC_CHANNEL_5;
	sConfig.Rank = ADC_REGULAR_RANK_1;
	sConfig.SamplingTime = ADC_SAMPLETIME_2CYCLES_5;
	sConfig.SingleDiff = ADC_SINGLE_ENDED;
	sConfig.OffsetNumber = ADC_OFFSET_NONE;
	sConfig.Offset = 0;
	if (HAL_ADC_ConfigChannel(&hadc1, &sConfig) != HAL_OK)
	{
	  Error_Handler();
	}
}

void ADC1_Select_SF (void){
	ADC_ChannelConfTypeDef sConfig = {0};
	  /** Configure for the selected ADC regular channel its corresponding rank in the sequencer and its sample time.
	  */
	sConfig.Channel = ADC_CHANNEL_2;
	sConfig.Rank = ADC_REGULAR_RANK_1;
	sConfig.SamplingTime = ADC_SAMPLETIME_2CYCLE_5;
	sConfig.SingleDiff = ADC_SINGLE_ENDED;
	sConfig.OffsetNumber = ADC_OFFSET_NONE;
	sConfig.Offset = 0;
	if (HAL_ADC_ConfigChannel(&hadc1, &sConfig) != HAL_OK)
	{
	  Error_Handler();
	}
}

void ADC2_Select_FR(void){
	ADC_ChannelConfTypeDef sConfig = {0};
	sConfig.Channel = ADC_CHANNEL_2;
	sConfig.Rank = ADC_REGULAR_RANK_1;
	sConfig.SamplingTime = ADC_SAMPLETIME_2CYCLES_5;
	sConfig.SingleDiff = ADC_SINGLE_ENDED;
	sConfig.OffsetNumber = ADC_OFFSET_NONE;
	sConfig.Offset = 0;
	if (HAL_ADC_ConfigChannel(&hadc2, &sConfig) != HAL_OK)
	{
	  Error_Handler();
	}
}

void ADC2_Select_FL(void){
	ADC_ChannelConfTypeDef sConfig = {0};
	sConfig.Channel = ADC_CHANNEL_6;
	sConfig.Rank = ADC_REGULAR_RANK_1;
	sConfig.SamplingTime = ADC_SAMPLETIME_2CYCLES_5;
	sConfig.SingleDiff = ADC_SINGLE_ENDED;
	sConfig.OffsetNumber = ADC_OFFSET_NONE;
	sConfig.Offset = 0;
	if (HAL_ADC_ConfigChannel(&hadc2, &sConfig) != HAL_OK)
	{
	  Error_Handler();
	}
}

void ADC2_Select_RL(void){
	ADC_ChannelConfTypeDef sConfig = {0};
	sConfig.Channel = ADC_CHANNEL_8;
	sConfig.Rank = ADC_REGULAR_RANK_1;
	sConfig.SamplingTime = ADC_SAMPLETIME_2CYCLES_5;
	sConfig.SingleDiff = ADC_SINGLE_ENDED;
	sConfig.OffsetNumber = ADC_OFFSET_NONE;
	sConfig.Offset = 0;
	if (HAL_ADC_ConfigChannel(&hadc2, &sConfig) != HAL_OK)
	{
	  Error_Handler();
	}
}

void ADC2_Select_RR(void){
	ADC_ChannelConfTypeDef sConfig = {0};
	sConfig.Channel = ADC_CHANNEL_9;
	sConfig.Rank = ADC_REGULAR_RANK_1;
	sConfig.SamplingTime = ADC_SAMPLETIME_2CYCLES_5;
	sConfig.SingleDiff = ADC_SINGLE_ENDED;
	sConfig.OffsetNumber = ADC_OFFSET_NONE;
	sConfig.Offset = 0;
	if (HAL_ADC_ConfigChannel(&hadc2, &sConfig) != HAL_OK)
	{
	  Error_Handler();
	}
}

void HAL_FDCAN_RxFifo0Callback(FDCAN_HandleTypeDef *hfdcan, uint32_t RxFifo0ITs)
{
  if((RxFifo0ITs & FDCAN_IT_RX_FIFO0_NEW_MESSAGE) != RESET)
  {
    /* Retreive Rx messages from RX FIFO1 */
    if (HAL_FDCAN_GetRxMessage(hfdcan, FDCAN_RX_FIFO0, &RxHeader_Acu, RxData_Acu) == HAL_OK)
    {
		switch (RxHeader_Acu.Identifier){
			case 0x20://ID_ack_precarga:
				if(RxData_Acu[0] == 0){
					precarga_inv = 1;
					#if DEBUG
					print("CAN_ACU: Precarga correcta");
					#endif
				}
				break;
		}

    }

    if (HAL_FDCAN_ActivateNotification(hfdcan, FDCAN_IT_RX_FIFO0_NEW_MESSAGE, 0) != HAL_OK)
    {
      /* Notification Error */
      Error_Handler();
    }
  }
}

uint8_t setTorque(){
	// Leemos sensores de posición del pedal de acelaración
	ADC1_Select_SA1();
	HAL_ADC_Start(&hadc1);
	HAL_ADC_PollForConversion(&hadc1, HAL_MAX_DELAY);
	s1_aceleracion = HAL_ADC_GetValue(&hadc1);
	HAL_ADC_Stop(&hadc1);

	ADC1_Select_SA2();
	HAL_ADC_Start(&hadc1);
	HAL_ADC_PollForConversion(&hadc1, HAL_MAX_DELAY);
	s2_aceleracion = HAL_ADC_GetValue(&hadc1);
	HAL_ADC_Stop(&hadc1);

#if DEBUG
print("Sensor 1: ");
printValue(s1_aceleracion);
print("");
print("Sensor 2: ");
printValue(s2_aceleracion);
print("");
#endif

	// Leemos sensor de freno
	ADC1_Select_SF();
	HAL_ADC_Start(&hadc1);
	HAL_ADC_PollForConversion(&hadc1, HAL_MAX_DELAY);
	s_freno = HAL_ADC_GetValue(&hadc1);
	HAL_ADC_Stop(&hadc1);

#if DEBUG
print("Sensor freno: ");
printValue(s_freno);
#endif

	// Calculamos % torque  en función de la posición de los sensores
	s1_aceleracion_aux = (s1_aceleracion - 500) / (7.48 - 5);
	if(s1_aceleracion_aux < 0) s1_aceleracion_aux = 0;
	s2_aceleracion_aux = (s2_aceleracion - 482) / (6.59 - 4.82);
	if(s2_aceleracion_aux < 0) s2_aceleracion_aux = 0;

#if DEBUG
print("Sensor % 1: ");
printValue(s1_aceleracion_aux);
print("");
print("Sensor % 2: ");
printValue(s2_aceleracion_aux);
print("");
#endif

	// Torque enviado es la media de los dos sensores
	torque_total = (s1_aceleracion_aux + s2_aceleracion_aux) / 2;

	// Por debajo de un 10% no acelera y por encima de un 90% esta a tope
	if (torque_total < 5)
	{
	  torque_total = 0;
	}
	else if (torque_total > 90)
	{
	  torque_total = 100;
	}

    // Comprobamos EV 2.3 APPS/Brake Pedal Plausibility Check
    // En caso de que se esté pisando el freno y mas de un 25% del pedal para. Se resetea
	// solo si el acelerador vuelve por debajo del 5%
    if (s_freno > UMBRAL_FRENO_APPS && torque_total > 25)
    {
      print("EV_2_3");
      flag_EV_2_3 = 1;
    }
    else if (s_freno < UMBRAL_FRENO_APPS && torque_total < 5)
    {
      flag_EV_2_3 = 0;
    }

    // T11.8.9 Implausibility is defined as a deviation of more than ten percentage points
    // pedal travel between any of the used APPSs
    if (abs(s1_aceleracion_aux - s2_aceleracion_aux) > 10)
    {
      count_T11_8_9 = count_T11_8_9 + 1;
      if (count_T11_8_9 * periodo_inv > 100)
      {
    	print("T11.8.9");
        flag_T11_8_9 = 1;
      }
    }
    else
    {
      count_T11_8_9 = 0;
      flag_T11_8_9 = 0;
    }

    if (flag_EV_2_3 || flag_T11_8_9)
    {
      torque_total = 0;
    }

#if DEBUG
print("Torque total solicitado: ");
printValue(torque_total);
#endif

    // Limitación del torque en función de la carga
    /*if (v_celda_min < 3500)
    {
      if (v_celda_min > 2800)
      {
        torque_limitado = torque_total * (1.357 * v_celda_min - 3750) / 1000;
      }
      else
      {
        torque_limitado = torque_total * 0.05;
      }
    }
    else
    {
      torque_limitado = torque_total;
    }*/

#if 0
print("Torque limitado en: ");
printValue(torque_limitado);
#endif

	torque_total = torque_total * 2.4;
    // Invertir todos los bits (complemento a uno)
    uint16_t complement_one = ~torque_total;

    // Sumar 1 para obtener el complemento a dos
    uint16_t torque_real = complement_one + 1;

    // Envío telemetría aceleración y freno
    /*TxHeader_Acu.Identifier = ID_torque_total;
    TxHeader_Acu.DataLength = 2;
    TxData_Acu[0] = ((int)torque_limitado) >> 8;
    TxData_Acu[1] = ((int)torque_limitado);
    HAL_FDCAN_AddMessageToTxFifoQ(&hfdcan2, &TxHeader_Acu, TxData_Acu);

    s_freno_aux = s_freno;
    s_freno_aux=(s_freno_aux-121.0)/572.0*100.0;
    TxHeader_Acu.Identifier = ID_s_freno;
   	TxHeader_Acu.DataLength = 2;
   	TxData_Acu[0] = ((int)s_freno_aux) >> 8;
   	TxData_Acu[1] = ((int)s_freno_aux);
   	HAL_FDCAN_AddMessageToTxFifoQ(&hfdcan2, &TxHeader_Acu, TxData_Acu);*/

    if(torque_real == 0){
    	torque_real = 0xFF;
    }
#if 1
print("Torque mandado al inversor: ");
printHex(torque_real);
#endif
	return torque_real;
}

void HAL_TIM_PeriodElapsedCallback(TIM_HandleTypeDef *htim) {
	if(htim == &htim16){
		 // ---------- CONTROL DEL INVERSOR ----------
		if(state == 4){
			TxHeader_Inv.Identifier = 0x362;
			TxHeader_Inv.DataLength = 4;

			real_torque = 0;

			TxData_Inv[0] = 0x0;
			TxData_Inv[1] = 0x0;
			TxData_Inv[2] = real_torque;
			TxData_Inv[3] = 0x0;
			HAL_FDCAN_AddMessageToTxFifoQ(&hfdcan1, &TxHeader_Inv, TxData_Inv);
		}
		if(state == 6){
			print("state: torque");

			//Estado TORQUE inversor
			TxHeader_Inv.Identifier = RX_SETPOINT_1;
			TxHeader_Inv.DataLength = 3;
			TxHeader_Inv.IdType = FDCAN_STANDARD_ID;

			TxData_Inv[0] = 0x0;
			TxData_Inv[1] = 0x0;
			TxData_Inv[2] = 0x6;
			HAL_FDCAN_AddMessageToTxFifoQ(&hfdcan1, &TxHeader_Inv, TxData_Inv);

			//Request TORQUE inversor
			TxHeader_Inv.Identifier = 0x362;
			TxHeader_Inv.DataLength = 4;

			//real_torque = setTorque();

			TxData_Inv[0] = 0x0;
			TxData_Inv[1] = 0x0;
			TxData_Inv[2] = 0xFF; //torque 0 - 240
			TxData_Inv[3] = 0xFF; //negative torque
			HAL_FDCAN_AddMessageToTxFifoQ(&hfdcan1, &TxHeader_Inv, TxData_Inv);
		}
		if(state == 10){
			print("state: soft fault");
			printValue(error);
		}

	}
}
/* USER CODE END 4 */

void Error_Handler(void)
{
  __disable_irq();
  while (1)
  {
  }
}
